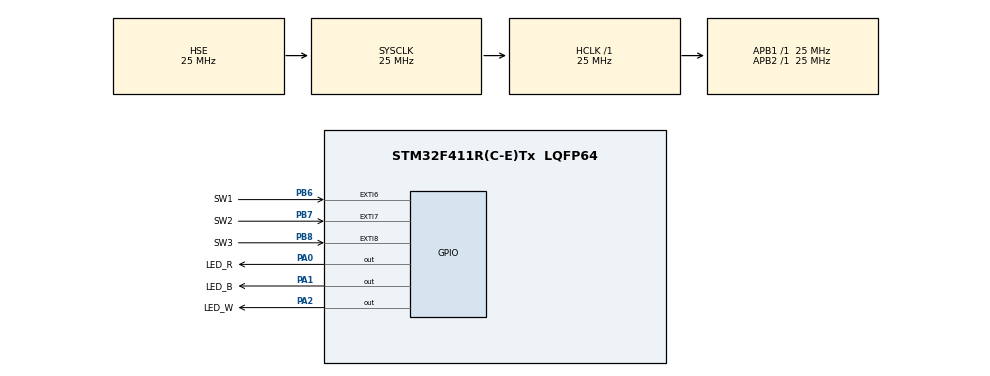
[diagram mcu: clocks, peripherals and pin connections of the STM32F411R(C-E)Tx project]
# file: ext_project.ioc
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Mcu.Family=STM32F4
Mcu.Name=STM32F411R(C-E)Tx
Mcu.Package=LQFP64
NVIC.EXTI9_5_IRQn=true\:6\:0\:true\:false\:true\:true\:true\:true
NVIC.PriorityGroup=NVIC_PRIORITYGROUP_4
PA0-WKUP.GPIO_Label=LED_R
PA0-WKUP.Signal=GPIO_Output
PA1.GPIO_Label=LED_B
PA1.Signal=GPIO_Output
PA13.Mode=Serial_Wire
PA13.Signal=SYS_JTMS-SWDIO
PA14.Mode=Serial_Wire
PA14.Signal=SYS_JTCK-SWCLK
PA2.GPIO_Label=LED_W
PA2.Signal=GPIO_Output
PB6.GPIO_Label=SW1
PB6.GPIO_ModeDefaultEXTI=GPIO_MODE_IT_FALLING
PB6.GPIO_PuPd=GPIO_PULLUP
PB6.Signal=GPXTI6
PB7.GPIO_Label=SW2
PB7.GPIO_ModeDefaultEXTI=GPIO_MODE_IT_RISING_FALLING
PB7.GPIO_PuPd=GPIO_PULLUP
PB7.Signal=GPXTI7
PB8.GPIO_Label=SW3
PB8.GPIO_ModeDefaultEXTI=GPIO_MODE_IT_FALLING
PB8.GPIO_PuPd=GPIO_PULLUP
PB8.Signal=GPXTI8
PH0\ -\ OSC_IN.Mode=HSE-External-Oscillator
PH0\ -\ OSC_IN.Signal=RCC_OSC_IN
PH1\ -\ OSC_OUT.Mode=HSE-External-Oscillator
PH1\ -\ OSC_OUT.Signal=RCC_OSC_OUT
ProjectManager.HeapSize=0x200
ProjectManager.StackSize=0x400
ProjectManager.TargetToolchain=STM32CubeIDE
RCC.AHBFreq_Value=25000000
RCC.APB1Freq_Value=25000000
RCC.APB1TimFreq_Value=25000000
RCC.APB2Freq_Value=25000000
RCC.APB2TimFreq_Value=25000000
RCC.CortexFreq_Value=25000000
RCC.HCLKFreq_Value=25000000
RCC.HSE_VALUE=25000000
RCC.HSI_VALUE=16000000
RCC.LSE_VALUE=32768
RCC.SYSCLKFreq_VALUE=25000000
RCC.SYSCLKSource=RCC_SYSCLKSOURCE_HSE
RCC.VCOOutputFreq_Value=192000000
board=custom

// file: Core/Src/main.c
/* USER CODE BEGIN Header */
/**
  ******************************************************************************
  * @file           : main.c
  * @brief          : Main program body
  ******************************************************************************
  * @attention
  *
  * Copyright (c) 2025 STMicroelectronics.
  * All rights reserved.
  *
  * This software is licensed under terms that can be found in the LICENSE file
  * in the root directory of this software component.
  * If no LICENSE file comes with this software, it is provided AS-IS.
  *
  ******************************************************************************
  */
/* USER CODE END Header */
#include "main.h"
#include "gpio.h"

/* USER CODE BEGIN PV */
uint8_t flag_sw3 = 0;
/* USER CODE END PV */

void SystemClock_Config(void);

/* USER CODE BEGIN 0 */
void HAL_GPIO_EXTI_Callback(uint16_t GPIO_Pin){
	if(GPIO_Pin == SW1_Pin){
		HAL_GPIO_TogglePin(LED_R_GPIO_Port, LED_R_Pin);
	}
	else if(GPIO_Pin == SW2_Pin){
		if(HAL_GPIO_ReadPin(SW2_GPIO_Port, SW2_Pin) == GPIO_PIN_RESET){
			HAL_GPIO_WritePin(LED_B_GPIO_Port, LED_B_Pin, GPIO_PIN_SET);
		} else{
			HAL_GPIO_WritePin(LED_B_GPIO_Port, LED_B_Pin, GPIO_PIN_RESET);
		}
	}
	else if(GPIO_Pin == SW3_Pin){
		flag_sw3 = 1;
		HAL_GPIO_WritePin(LED_W_GPIO_Port, LED_W_Pin, GPIO_PIN_SET);
	}
}
/* USER CODE END 0 */

int main(void)
{

  /* USER CODE BEGIN 1 */
  uint8_t cnt_sw3 = 0;
  /* USER CODE END 1 */

  /* MCU Configuration--------------------------------------------------------*/

  /* Reset of all peripherals, Initializes the Flash interface and the Systick. */
  HAL_Init();

  /* Configure the system clock */
  SystemClock_Config();

  /* Initialize all configured peripherals */
  MX_GPIO_Init();

  /* Infinite loop */
  /* USER CODE BEGIN WHILE */
  while (1)
  {
	  if(flag_sw3 == 1){
		  flag_sw3 = 0;
		  cnt_sw3 = 100;
	  }

	  if(cnt_sw3 > 0){
		  cnt_sw3--;
		  if(cnt_sw3 == 0){
			  HAL_GPIO_WritePin(LED_W_GPIO_Port, LED_W_Pin, GPIO_PIN_RESET);
		  }
	  }
	  HAL_Delay(10);
    /* USER CODE END WHILE */

  }
}

void SystemClock_Config(void)
{
  RCC_OscInitTypeDef RCC_OscInitStruct = {0};
  RCC_ClkInitTypeDef RCC_ClkInitStruct = {0};

  /** Configure the main internal regulator output voltage
  */
  __HAL_RCC_PWR_CLK_ENABLE();
  __HAL_PWR_VOLTAGESCALING_CONFIG(PWR_REGULATOR_VOLTAGE_SCALE1);

  /** Initializes the RCC Oscillators according to the specified parameters
  * in the RCC_OscInitTypeDef structure.
  */
  RCC_OscInitStruct.OscillatorType = RCC_OSCILLATORTYPE_HSE;
  RCC_OscInitStruct.HSEState = RCC_HSE_ON;
  RCC_OscInitStruct.PLL.PLLState = RCC_PLL_NONE;
  if (HAL_RCC_OscConfig(&RCC_OscInitStruct) != HAL_OK)
  {
    Error_Handler();
  }

  /** Initializes the CPU, AHB and APB buses clocks
  */
  RCC_ClkInitStruct.ClockType = RCC_CLOCKTYPE_HCLK|RCC_CLOCKTYPE_SYSCLK
                              |RCC_CLOCKTYPE_PCLK1|RCC_CLOCKTYPE_PCLK2;
  RCC_ClkInitStruct.SYSCLKSource = RCC_SYSCLKSOURCE_HSE;
  RCC_ClkInitStruct.AHBCLKDivider = RCC_SYSCLK_DIV1;
  RCC_ClkInitStruct.APB1CLKDivider = RCC_HCLK_DIV1;
  RCC_ClkInitStruct.APB2CLKDivider = RCC_HCLK_DIV1;

  if (HAL_RCC_ClockConfig(&RCC_ClkInitStruct, FLASH_LATENCY_0) != HAL_OK)
  {
    Error_Handler();
  }
}

void Error_Handler(void)
{
  __disable_irq();
  while (1)
  {
  }
}
